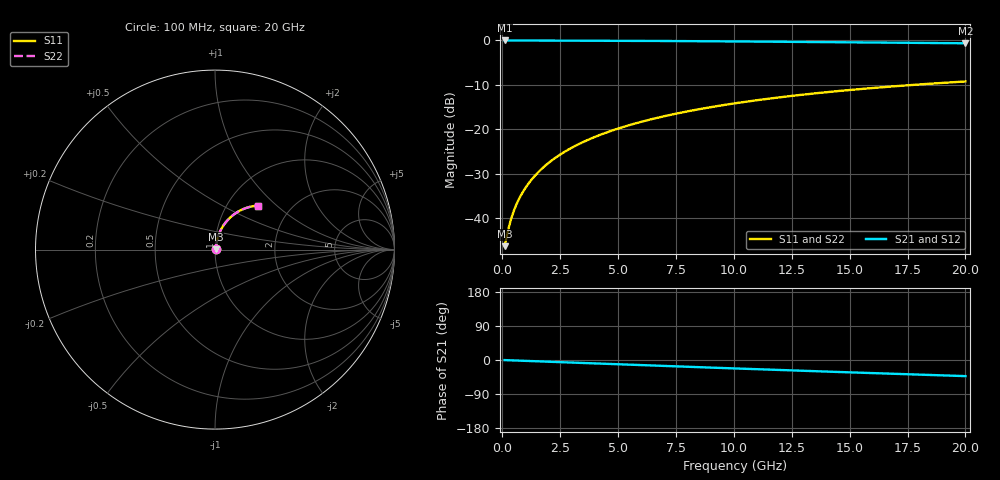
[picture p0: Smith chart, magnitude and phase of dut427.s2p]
! Touchstone file exported from HFSS 2026.1.0
!  File:  C:/ffzhzh/LocalFiles/Ansys_Project_Files/temp_train_BSMRDL_427_1783012830_46388.aedt
!  Generated:  01:21:53 AM Jul  3, 2026
!  Design:  BSMRDL
!  Project:  temp_train_BSMRDL_427_1783012830_46388
! Variables:
!  h_bsmrdl = 2.8um
!  h_ox = 20um
!  h_rdl = 5um
!  h_sub = 80um
!  h_tmrdl = 5um
!  h_tsv = 80um
!  h_via = 3um
!  l_bsmrdl = 650.74um
!  l_sub = 1050.74um
!  l_tmrdl = 200um
!  m_sub = 200um
!  pitch = 38.9um
!  r_tsv = 6um
!  s_tmrdl = 10um
!  w_bsmrdl = 20.46um
!  w_sub = 500um
!  w_tmrdl = 12um
!  x_tsv_center1 = 206um
!  x_tsv_center2 = 877.2um
!  x_tsv_center3 = 1089.2um
!  x_tsv_center4 = 1760.4um
!  x_tsv_center5 = 1972.4um
!  x_tsv_center6 = 2643.6um
# GHz S MA R 50.000000
! Terminal data exported
! Port[1] = BSM_RDL1_1_T1
! Port[2] = BSM_RDL1_1_T2
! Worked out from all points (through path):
!   200 points, 100 MHz to 20 GHz, reference 50 ohm
!   highest |S21| = -0.04 dB at 100 MHz (marker M1); lowest = -0.7 dB at 20 GHz (marker M2)
!   group delay of S21, straight-line fit = 5.91 ps
!   lowest |S11| = -46.3 dB at 100 MHz (marker M3), VSWR 1.01, Z = 50.4 + j0.236 ohm
!   |S11| at or under -10 dB: start of sweep to 17.81 GHz
!   |S22| runs from -46.3 to -9.3 dB; largest |S21 - S12| = 3e-15
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0.1  0.00485 28.8  0.9958 -0.2  0.9958 -0.2  0.00485 28.8
! Gamma 0 0 0 0
! Port Impedance 50 0 50 0
0.3  0.008258 55.6  0.9954 -0.7  0.9954 -0.7  0.008258 55.6
0.4  0.0102 61.1  0.9952 -1.0  0.9952 -1.0  0.0102 61.1
0.5  0.01215 64.8  0.995 -1.2  0.995 -1.2  0.01215 64.8
0.6  0.0141 67.4  0.9948 -1.4  0.9948 -1.4  0.0141 67.4
0.8  0.018 70.9  0.9945 -1.9  0.9945 -1.9  0.018 70.9
1  0.02193 73.2  0.9943 -2.3  0.9943 -2.3  0.02193 73.2
1.2  0.02588 74.8  0.9941 -2.8  0.9941 -2.8  0.02588 74.8
1.4  0.02986 75.8  0.9939 -3.2  0.9939 -3.2  0.02986 75.8
1.7  0.03586 76.8  0.9936 -3.9  0.9936 -3.9  0.03586 76.8
2.2  0.04591 77.6  0.993 -5.0  0.993 -5.0  0.04591 77.5
2.8  0.05799 77.6  0.9922 -6.4  0.9922 -6.4  0.05799 77.6
3.5  0.07203 77.0  0.991 -7.9  0.991 -7.9  0.07203 77.0
4.2  0.08598 76.1  0.9896 -9.5  0.9896 -9.5  0.08598 76.0
5  0.1018 74.8  0.9878 -11.3  0.9878 -11.3  0.1018 74.7
5.9  0.1193 73.1  0.9854 -13.3  0.9854 -13.3  0.1193 73.1
6.8  0.1365 71.4  0.9827 -15.3  0.9827 -15.3  0.1365 71.4
8.3  0.1644 68.4  0.9776 -18.5  0.9776 -18.5  0.1644 68.4
10.1  0.1966 64.8  0.9708 -22.4  0.9708 -22.4  0.1966 64.8
13.4  0.2516 58.2  0.9566 -29.3  0.9566 -29.3  0.2516 58.1
16.7  0.3009 51.7  0.9413 -36.0  0.9413 -36.0  0.3009 51.6
20  0.3444 45.4  0.9256 -42.5  0.9256 -42.5  0.3445 45.3
